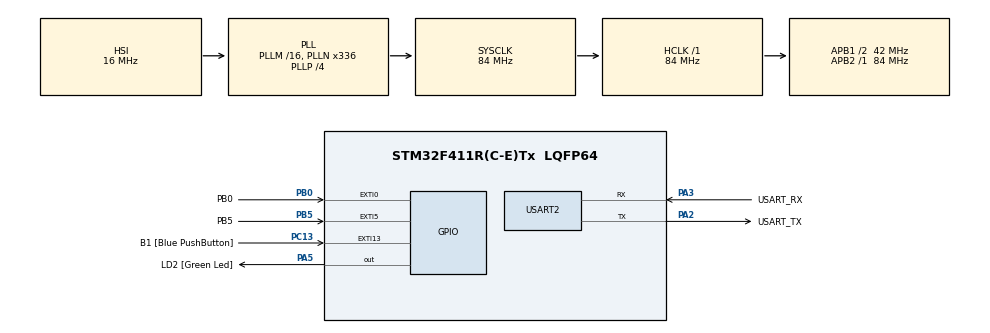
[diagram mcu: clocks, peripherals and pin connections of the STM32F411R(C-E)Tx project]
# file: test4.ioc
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Dma.Request0=USART2_TX
Dma.USART2_TX.0.Direction=DMA_MEMORY_TO_PERIPH
Dma.USART2_TX.0.FIFOMode=DMA_FIFOMODE_DISABLE
Dma.USART2_TX.0.Instance=DMA1_Stream6
Dma.USART2_TX.0.MemDataAlignment=DMA_MDATAALIGN_BYTE
Dma.USART2_TX.0.MemInc=DMA_MINC_ENABLE
Dma.USART2_TX.0.Mode=DMA_NORMAL
Dma.USART2_TX.0.PeriphDataAlignment=DMA_PDATAALIGN_BYTE
Dma.USART2_TX.0.PeriphInc=DMA_PINC_DISABLE
Dma.USART2_TX.0.Priority=DMA_PRIORITY_LOW
Mcu.Family=STM32F4
Mcu.Name=STM32F411R(C-E)Tx
Mcu.Package=LQFP64
NVIC.DMA1_Stream6_IRQn=true\:0\:0\:false\:false\:true\:false\:true\:true
NVIC.EXTI0_IRQn=true\:0\:0\:false\:false\:true\:true\:true\:true
NVIC.EXTI9_5_IRQn=true\:0\:0\:false\:false\:true\:true\:true\:true
NVIC.PriorityGroup=NVIC_PRIORITYGROUP_0
NVIC.TIM1_TRG_COM_TIM11_IRQn=true\:0\:0\:false\:false\:true\:true\:true\:true
NVIC.USART2_IRQn=true\:0\:0\:false\:false\:true\:true\:true\:true
PA13.GPIO_Label=TMS
PA13.Mode=Serial_Wire
PA13.Signal=SYS_JTMS-SWDIO
PA14.GPIO_Label=TCK
PA14.Mode=Serial_Wire
PA14.Signal=SYS_JTCK-SWCLK
PA2.GPIO_Label=USART_TX
PA2.Mode=Asynchronous
PA2.Signal=USART2_TX
PA3.GPIO_Label=USART_RX
PA3.Mode=Asynchronous
PA3.Signal=USART2_RX
PA5.GPIO_Label=LD2 [Green Led]
PA5.Signal=GPIO_Output
PB0.GPIO_Label=PB0
PB0.GPIO_ModeDefaultEXTI=GPIO_MODE_IT_FALLING
PB0.GPIO_PuPd=GPIO_PULLUP
PB0.Signal=GPXTI0
PB3.GPIO_Label=SWO
PB3.Signal=SYS_JTDO-SWO
PB5.GPIO_Label=PB5
PB5.GPIO_ModeDefaultEXTI=GPIO_MODE_IT_FALLING
PB5.GPIO_PuPd=GPIO_PULLUP
PB5.Signal=GPXTI5
PC13-ANTI_TAMP.GPIO_Label=B1 [Blue PushButton]
PC13-ANTI_TAMP.GPIO_ModeDefaultEXTI=GPIO_MODE_IT_FALLING
PC13-ANTI_TAMP.Signal=GPXTI13
PC14-OSC32_IN.Mode=LSE-External-Oscillator
PC14-OSC32_IN.Signal=RCC_OSC32_IN
PC15-OSC32_OUT.Mode=LSE-External-Oscillator
PC15-OSC32_OUT.Signal=RCC_OSC32_OUT
PH0\ -\ OSC_IN.Mode=HSE-External-Clock-Source
PH0\ -\ OSC_IN.Signal=RCC_OSC_IN
PH1\ -\ OSC_OUT.Mode=HSE-External-Clock-Source
PH1\ -\ OSC_OUT.Signal=RCC_OSC_OUT
ProjectManager.HeapSize=0x200
ProjectManager.StackSize=0x400
ProjectManager.TargetToolchain=STM32CubeIDE
RCC.48MHZClocksFreq_Value=84000000
RCC.AHBFreq_Value=84000000
RCC.APB1CLKDivider=RCC_HCLK_DIV2
RCC.APB1Freq_Value=42000000
RCC.APB1TimFreq_Value=84000000
RCC.APB2Freq_Value=84000000
RCC.APB2TimFreq_Value=84000000
RCC.CortexFreq_Value=84000000
RCC.FLatency-AdvancedSettings=FLASH_LATENCY_2
RCC.HCLKFreq_Value=84000000
RCC.HSE_VALUE=8000000
RCC.HSI_VALUE=16000000
RCC.PLLN=336
RCC.PLLP=RCC_PLLP_DIV4
RCC.SYSCLKFreq_VALUE=84000000
RCC.SYSCLKSource=RCC_SYSCLKSOURCE_PLLCLK
RCC.VCOOutputFreq_Value=336000000
TIM11.Period=29999
TIM11.Prescaler=8399
USART2.VirtualMode=VM_ASYNC
VP_TIM11_VS_ClockSourceINT.Mode=Enable_Timer
board=NUCLEO-F411RE

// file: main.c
/* USER CODE BEGIN Header */
/**
  ******************************************************************************
  * @file           : main.c
  * @brief          : Main program body
  ******************************************************************************
  * @attention
  *
  * Copyright (c) 2023 STMicroelectronics.
  * All rights reserved.
  *
  * This software is licensed under terms that can be found in the LICENSE file
  * in the root directory of this software component.
  * If no LICENSE file comes with this software, it is provided AS-IS.
  *
  ******************************************************************************
  */
/* USER CODE END Header */
#include "main.h"

TIM_HandleTypeDef htim11;

UART_HandleTypeDef huart2;
DMA_HandleTypeDef hdma_usart2_tx;

/* USER CODE BEGIN PV */
volatile uint16_t count = 0;
volatile uint8_t buf_tx[100];
volatile uint16_t tx_cnt;
volatile uint8_t flag = 1;
/* USER CODE END PV */

void SystemClock_Config(void);
static void MX_GPIO_Init(void);
static void MX_DMA_Init(void);
static void MX_USART2_UART_Init(void);
static void MX_TIM11_Init(void);
/* USER CODE BEGIN PFP */
void HAL_GPIO_EXTI_Callback(uint16_t GPIO_Pin) {
	if(GPIO_Pin == PB5_Pin && flag == 1) {
		count++;
		tx_cnt = snprintf(buf_tx, sizeof(buf_tx), "%d\n", count);
		HAL_UART_Transmit_DMA(&huart2, buf_tx, tx_cnt);
		HAL_TIM_Base_Start_IT(&htim11);
		flag = 0;
	}
}

void HAL_TIM_PeriodElapsedCallback(TIM_HandleTypeDef *htim) {
	if (htim->Instance == TIM11) {
		flag = 1;
		HAL_TIM_Base_Stop_IT(&htim11);
	}
}
/* USER CODE END PFP */

int main(void)
{

  /* MCU Configuration--------------------------------------------------------*/

  /* Reset of all peripherals, Initializes the Flash interface and the Systick. */
  HAL_Init();

  /* Configure the system clock */
  SystemClock_Config();

  /* Initialize all configured peripherals */
  MX_GPIO_Init();
  MX_DMA_Init();
  MX_USART2_UART_Init();
  MX_TIM11_Init();

  /* Infinite loop */
  while (1)
  {

  }
}

void SystemClock_Config(void)
{
  RCC_OscInitTypeDef RCC_OscInitStruct = {0};
  RCC_ClkInitTypeDef RCC_ClkInitStruct = {0};

  /** Configure the main internal regulator output voltage
  */
  __HAL_RCC_PWR_CLK_ENABLE();
  __HAL_PWR_VOLTAGESCALING_CONFIG(PWR_REGULATOR_VOLTAGE_SCALE1);

  /** Initializes the RCC Oscillators according to the specified parameters
  * in the RCC_OscInitTypeDef structure.
  */
  RCC_OscInitStruct.OscillatorType = RCC_OSCILLATORTYPE_HSI;
  RCC_OscInitStruct.HSIState = RCC_HSI_ON;
  RCC_OscInitStruct.HSICalibrationValue = RCC_HSICALIBRATION_DEFAULT;
  RCC_OscInitStruct.PLL.PLLState = RCC_PLL_ON;
  RCC_OscInitStruct.PLL.PLLSource = RCC_PLLSOURCE_HSI;
  RCC_OscInitStruct.PLL.PLLM = 16;
  RCC_OscInitStruct.PLL.PLLN = 336;
  RCC_OscInitStruct.PLL.PLLP = RCC_PLLP_DIV4;
  RCC_OscInitStruct.PLL.PLLQ = 4;
  if (HAL_RCC_OscConfig(&RCC_OscInitStruct) != HAL_OK)
  {
    Error_Handler();
  }

  /** Initializes the CPU, AHB and APB buses clocks
  */
  RCC_ClkInitStruct.ClockType = RCC_CLOCKTYPE_HCLK|RCC_CLOCKTYPE_SYSCLK
                              |RCC_CLOCKTYPE_PCLK1|RCC_CLOCKTYPE_PCLK2;
  RCC_ClkInitStruct.SYSCLKSource = RCC_SYSCLKSOURCE_PLLCLK;
  RCC_ClkInitStruct.AHBCLKDivider = RCC_SYSCLK_DIV1;
  RCC_ClkInitStruct.APB1CLKDivider = RCC_HCLK_DIV2;
  RCC_ClkInitStruct.APB2CLKDivider = RCC_HCLK_DIV1;

  if (HAL_RCC_ClockConfig(&RCC_ClkInitStruct, FLASH_LATENCY_2) != HAL_OK)
  {
    Error_Handler();
  }
}

static void MX_TIM11_Init(void)
{

  htim11.Instance = TIM11;
  htim11.Init.Prescaler = 8399;
  htim11.Init.CounterMode = TIM_COUNTERMODE_UP;
  htim11.Init.Period = 29999;
  htim11.Init.ClockDivision = TIM_CLOCKDIVISION_DIV1;
  htim11.Init.AutoReloadPreload = TIM_AUTORELOAD_PRELOAD_DISABLE;
  if (HAL_TIM_Base_Init(&htim11) != HAL_OK)
  {
    Error_Handler();
  }

}

static void MX_USART2_UART_Init(void)
{

  huart2.Instance = USART2;
  huart2.Init.BaudRate = 115200;
  huart2.Init.WordLength = UART_WORDLENGTH_8B;
  huart2.Init.StopBits = UART_STOPBITS_1;
  huart2.Init.Parity = UART_PARITY_NONE;
  huart2.Init.Mode = UART_MODE_TX_RX;
  huart2.Init.HwFlowCtl = UART_HWCONTROL_NONE;
  huart2.Init.OverSampling = UART_OVERSAMPLING_16;
  if (HAL_UART_Init(&huart2) != HAL_OK)
  {
    Error_Handler();
  }

}

static void MX_DMA_Init(void)
{

  /* DMA controller clock enable */
  __HAL_RCC_DMA1_CLK_ENABLE();

  /* DMA interrupt init */
  /* DMA1_Stream6_IRQn interrupt configuration */
  HAL_NVIC_SetPriority(DMA1_Stream6_IRQn, 0, 0);
  HAL_NVIC_EnableIRQ(DMA1_Stream6_IRQn);

}

static void MX_GPIO_Init(void)
{
  GPIO_InitTypeDef GPIO_InitStruct = {0};

  /* GPIO Ports Clock Enable */
  __HAL_RCC_GPIOC_CLK_ENABLE();
  __HAL_RCC_GPIOH_CLK_ENABLE();
  __HAL_RCC_GPIOA_CLK_ENABLE();
  __HAL_RCC_GPIOB_CLK_ENABLE();

  /*Configure GPIO pin Output Level */
  HAL_GPIO_WritePin(LD2_GPIO_Port, LD2_Pin, GPIO_PIN_RESET);

  /*Configure GPIO pin : B1_Pin */
  GPIO_InitStruct.Pin = B1_Pin;
  GPIO_InitStruct.Mode = GPIO_MODE_IT_FALLING;
  GPIO_InitStruct.Pull = GPIO_NOPULL;
  HAL_GPIO_Init(B1_GPIO_Port, &GPIO_InitStruct);

  /*Configure GPIO pin : LD2_Pin */
  GPIO_InitStruct.Pin = LD2_Pin;
  GPIO_InitStruct.Mode = GPIO_MODE_OUTPUT_PP;
  GPIO_InitStruct.Pull = GPIO_NOPULL;
  GPIO_InitStruct.Speed = GPIO_SPEED_FREQ_LOW;
  HAL_GPIO_Init(LD2_GPIO_Port, &GPIO_InitStruct);

  /*Configure GPIO pins : PB0_Pin PB5_Pin */
  GPIO_InitStruct.Pin = PB0_Pin|PB5_Pin;
  GPIO_InitStruct.Mode = GPIO_MODE_IT_FALLING;
  GPIO_InitStruct.Pull = GPIO_PULLUP;
  HAL_GPIO_Init(GPIOB, &GPIO_InitStruct);

  /* EXTI interrupt init*/
  HAL_NVIC_SetPriority(EXTI0_IRQn, 0, 0);
  HAL_NVIC_EnableIRQ(EXTI0_IRQn);

  HAL_NVIC_SetPriority(EXTI9_5_IRQn, 0, 0);
  HAL_NVIC_EnableIRQ(EXTI9_5_IRQn);

}

void Error_Handler(void)
{
  __disable_irq();
  while (1)
  {
  }
}
